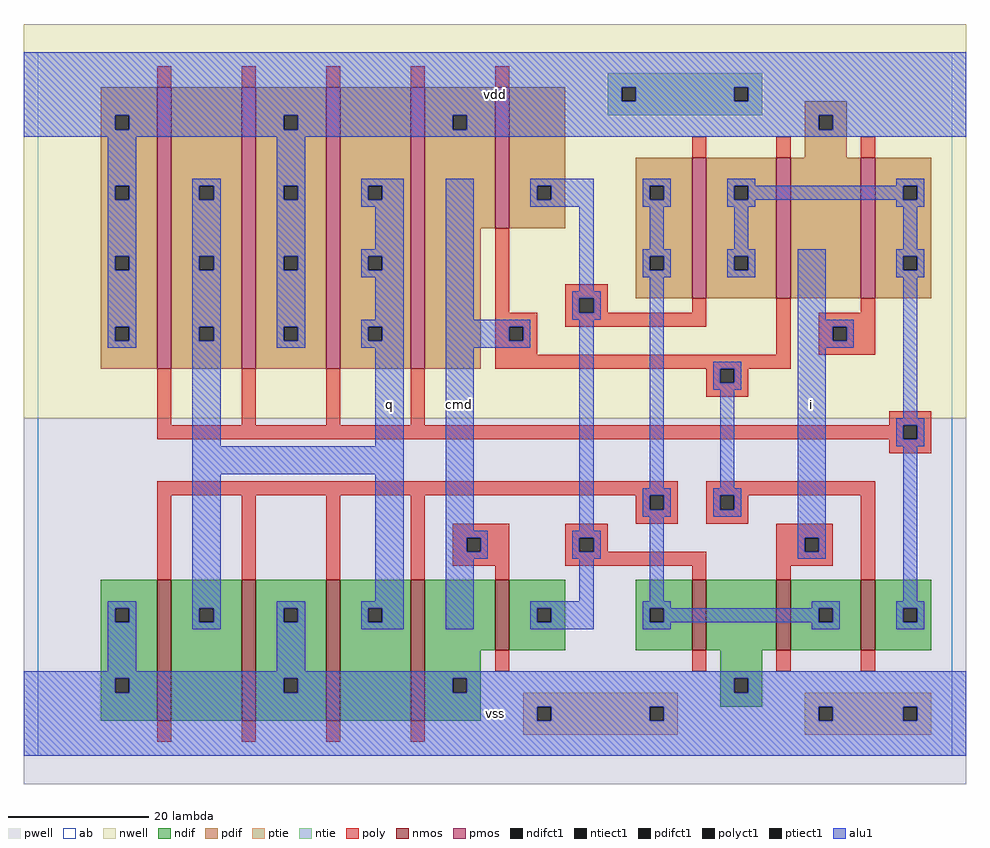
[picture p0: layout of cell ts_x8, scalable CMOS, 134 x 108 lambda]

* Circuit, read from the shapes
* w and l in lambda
.subckt ts_x8 cmd i q vdd vss
M1 q n1 vss vss nfet w=20 l=2 m=4
M2 n2 cmd vss vss nfet w=10 l=2
M3 vss n2 n1 vss nfet w=10 l=2
M4 n1 i vss vss nfet w=10 l=2
M5 n3 cmd n1 vss nfet w=10 l=2
M6 q n3 vdd vdd pfet w=40 l=2 m=4
M7 n2 cmd vdd vdd pfet w=20 l=2
M8 n3 n2 n1 vdd pfet w=20 l=2
M9 vdd cmd n3 vdd pfet w=20 l=2
M10 n3 i vdd vdd pfet w=20 l=2
.ends

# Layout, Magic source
magic
tech scmos
<< ab >>
rect 0 0 130 100
<< nwell >>
rect -2 48 132 104
<< pwell >>
rect -2 -4 132 48
<< poly >>
rect 17 95 19 98
rect 29 95 31 98
rect 41 95 43 98
rect 53 95 55 98
rect 65 95 67 98
rect 93 85 95 88
rect 105 85 107 88
rect 117 85 119 88
rect 65 63 67 75
rect 75 65 81 67
rect 75 63 77 65
rect 79 63 81 65
rect 93 63 95 65
rect 65 61 71 63
rect 75 61 95 63
rect 65 59 67 61
rect 69 59 71 61
rect 65 57 71 59
rect 105 57 107 65
rect 117 63 119 65
rect 111 61 119 63
rect 111 59 113 61
rect 115 59 119 61
rect 111 57 119 59
rect 65 55 107 57
rect 17 47 19 55
rect 29 47 31 55
rect 41 47 43 55
rect 53 47 55 55
rect 95 53 97 55
rect 99 53 101 55
rect 95 51 101 53
rect 121 47 127 49
rect 17 45 123 47
rect 125 45 127 47
rect 121 43 127 45
rect 17 37 91 39
rect 17 25 19 37
rect 29 25 31 37
rect 41 25 43 37
rect 53 25 55 37
rect 85 35 87 37
rect 89 35 91 37
rect 85 33 91 35
rect 95 37 119 39
rect 95 35 97 37
rect 99 35 101 37
rect 95 33 101 35
rect 59 31 67 33
rect 59 29 61 31
rect 63 29 67 31
rect 59 27 67 29
rect 75 31 81 33
rect 75 29 77 31
rect 79 29 81 31
rect 105 31 113 33
rect 105 29 109 31
rect 111 29 113 31
rect 75 27 95 29
rect 65 25 67 27
rect 93 25 95 27
rect 105 27 113 29
rect 105 25 107 27
rect 117 25 119 37
rect 65 12 67 15
rect 93 12 95 15
rect 105 12 107 15
rect 117 12 119 15
rect 17 2 19 5
rect 29 2 31 5
rect 41 2 43 5
rect 53 2 55 5
<< ndif >>
rect 9 21 17 25
rect 9 19 11 21
rect 13 19 17 21
rect 9 11 17 19
rect 9 9 11 11
rect 13 9 17 11
rect 9 5 17 9
rect 19 21 29 25
rect 19 19 23 21
rect 25 19 29 21
rect 19 5 29 19
rect 31 21 41 25
rect 31 19 35 21
rect 37 19 41 21
rect 31 11 41 19
rect 31 9 35 11
rect 37 9 41 11
rect 31 5 41 9
rect 43 21 53 25
rect 43 19 47 21
rect 49 19 53 21
rect 43 5 53 19
rect 55 15 65 25
rect 67 21 75 25
rect 67 19 71 21
rect 73 19 75 21
rect 67 15 75 19
rect 85 21 93 25
rect 85 19 87 21
rect 89 19 93 21
rect 85 15 93 19
rect 95 15 105 25
rect 107 21 117 25
rect 107 19 111 21
rect 113 19 117 21
rect 107 15 117 19
rect 119 21 127 25
rect 119 19 123 21
rect 125 19 127 21
rect 119 15 127 19
rect 55 11 63 15
rect 55 9 59 11
rect 61 9 63 11
rect 97 11 103 15
rect 97 9 99 11
rect 101 9 103 11
rect 55 5 63 9
rect 97 7 103 9
<< pdif >>
rect 9 91 17 95
rect 9 89 11 91
rect 13 89 17 91
rect 9 81 17 89
rect 9 79 11 81
rect 13 79 17 81
rect 9 71 17 79
rect 9 69 11 71
rect 13 69 17 71
rect 9 61 17 69
rect 9 59 11 61
rect 13 59 17 61
rect 9 55 17 59
rect 19 81 29 95
rect 19 79 23 81
rect 25 79 29 81
rect 19 71 29 79
rect 19 69 23 71
rect 25 69 29 71
rect 19 61 29 69
rect 19 59 23 61
rect 25 59 29 61
rect 19 55 29 59
rect 31 91 41 95
rect 31 89 35 91
rect 37 89 41 91
rect 31 81 41 89
rect 31 79 35 81
rect 37 79 41 81
rect 31 71 41 79
rect 31 69 35 71
rect 37 69 41 71
rect 31 61 41 69
rect 31 59 35 61
rect 37 59 41 61
rect 31 55 41 59
rect 43 81 53 95
rect 43 79 47 81
rect 49 79 53 81
rect 43 71 53 79
rect 43 69 47 71
rect 49 69 53 71
rect 43 61 53 69
rect 43 59 47 61
rect 49 59 53 61
rect 43 55 53 59
rect 55 91 65 95
rect 55 89 59 91
rect 61 89 65 91
rect 55 75 65 89
rect 67 81 75 95
rect 109 91 115 93
rect 109 89 111 91
rect 113 89 115 91
rect 109 85 115 89
rect 67 79 71 81
rect 73 79 75 81
rect 67 75 75 79
rect 85 81 93 85
rect 85 79 87 81
rect 89 79 93 81
rect 55 55 63 75
rect 85 71 93 79
rect 85 69 87 71
rect 89 69 93 71
rect 85 65 93 69
rect 95 81 105 85
rect 95 79 99 81
rect 101 79 105 81
rect 95 71 105 79
rect 95 69 99 71
rect 101 69 105 71
rect 95 65 105 69
rect 107 65 117 85
rect 119 81 127 85
rect 119 79 123 81
rect 125 79 127 81
rect 119 71 127 79
rect 119 69 123 71
rect 125 69 127 71
rect 119 65 127 69
<< alu1 >>
rect -2 95 132 100
rect -2 93 83 95
rect 85 93 99 95
rect 101 93 132 95
rect -2 91 132 93
rect -2 89 11 91
rect 13 89 35 91
rect 37 89 59 91
rect 61 89 111 91
rect 113 89 132 91
rect -2 88 132 89
rect 10 81 14 88
rect 10 79 11 81
rect 13 79 14 81
rect 10 71 14 79
rect 10 69 11 71
rect 13 69 14 71
rect 10 61 14 69
rect 10 59 11 61
rect 13 59 14 61
rect 10 58 14 59
rect 22 81 26 82
rect 22 79 23 81
rect 25 79 26 81
rect 22 71 26 79
rect 22 69 23 71
rect 25 69 26 71
rect 22 61 26 69
rect 22 59 23 61
rect 25 59 26 61
rect 22 44 26 59
rect 34 81 38 88
rect 34 79 35 81
rect 37 79 38 81
rect 34 71 38 79
rect 46 81 52 82
rect 46 79 47 81
rect 49 79 52 81
rect 46 78 52 79
rect 48 72 52 78
rect 34 69 35 71
rect 37 69 38 71
rect 34 61 38 69
rect 46 71 52 72
rect 46 69 47 71
rect 49 69 52 71
rect 46 68 52 69
rect 48 62 52 68
rect 34 59 35 61
rect 37 59 38 61
rect 34 58 38 59
rect 46 61 52 62
rect 46 59 47 61
rect 49 59 52 61
rect 46 58 52 59
rect 48 44 52 58
rect 22 40 52 44
rect 10 21 14 22
rect 10 19 11 21
rect 13 19 14 21
rect 10 12 14 19
rect 22 21 26 40
rect 48 22 52 40
rect 22 19 23 21
rect 25 19 26 21
rect 22 18 26 19
rect 34 21 38 22
rect 34 19 35 21
rect 37 19 38 21
rect 34 12 38 19
rect 46 21 52 22
rect 46 19 47 21
rect 49 19 52 21
rect 46 18 52 19
rect 58 62 62 82
rect 70 81 79 82
rect 70 79 71 81
rect 73 79 79 81
rect 70 78 79 79
rect 86 81 90 82
rect 86 79 87 81
rect 89 79 90 81
rect 86 78 90 79
rect 98 81 102 82
rect 122 81 126 82
rect 98 79 99 81
rect 101 79 123 81
rect 125 79 126 81
rect 98 78 102 79
rect 122 78 126 79
rect 77 66 79 78
rect 87 72 89 78
rect 99 72 101 78
rect 123 72 125 78
rect 86 71 90 72
rect 86 69 87 71
rect 89 69 90 71
rect 86 68 90 69
rect 98 71 102 72
rect 98 69 99 71
rect 101 69 102 71
rect 98 68 102 69
rect 76 65 80 66
rect 76 63 77 65
rect 79 63 80 65
rect 76 62 80 63
rect 58 61 70 62
rect 58 59 67 61
rect 69 59 70 61
rect 58 58 70 59
rect 58 32 62 58
rect 77 32 79 62
rect 87 38 89 68
rect 108 62 112 72
rect 122 71 126 72
rect 122 69 123 71
rect 125 69 126 71
rect 122 68 126 69
rect 108 61 116 62
rect 108 59 113 61
rect 115 59 116 61
rect 108 58 116 59
rect 96 55 100 56
rect 96 53 97 55
rect 99 53 100 55
rect 96 52 100 53
rect 97 38 99 52
rect 86 37 90 38
rect 86 35 87 37
rect 89 35 90 37
rect 86 34 90 35
rect 96 37 100 38
rect 96 35 97 37
rect 99 35 100 37
rect 96 34 100 35
rect 58 31 64 32
rect 58 29 61 31
rect 63 29 64 31
rect 58 28 64 29
rect 76 31 80 32
rect 76 29 77 31
rect 79 29 80 31
rect 76 28 80 29
rect 58 18 62 28
rect 77 22 79 28
rect 87 22 89 34
rect 108 31 112 58
rect 123 48 125 68
rect 122 47 126 48
rect 122 45 123 47
rect 125 45 126 47
rect 122 44 126 45
rect 108 29 109 31
rect 111 29 112 31
rect 108 28 112 29
rect 123 22 125 44
rect 70 21 79 22
rect 70 19 71 21
rect 73 19 79 21
rect 70 18 79 19
rect 86 21 90 22
rect 110 21 114 22
rect 86 19 87 21
rect 89 19 111 21
rect 113 19 114 21
rect 86 18 90 19
rect 110 18 114 19
rect 122 21 126 22
rect 122 19 123 21
rect 125 19 126 21
rect 122 18 126 19
rect -2 11 132 12
rect -2 9 11 11
rect 13 9 35 11
rect 37 9 59 11
rect 61 9 99 11
rect 101 9 132 11
rect -2 7 132 9
rect -2 5 71 7
rect 73 5 87 7
rect 89 5 111 7
rect 113 5 123 7
rect 125 5 132 7
rect -2 0 132 5
<< ptie >>
rect 69 7 91 9
rect 109 7 127 9
rect 69 5 71 7
rect 73 5 87 7
rect 89 5 91 7
rect 69 3 91 5
rect 109 5 111 7
rect 113 5 123 7
rect 125 5 127 7
rect 109 3 127 5
<< ntie >>
rect 81 95 103 97
rect 81 93 83 95
rect 85 93 99 95
rect 101 93 103 95
rect 81 91 103 93
<< nmos >>
rect 17 5 19 25
rect 29 5 31 25
rect 41 5 43 25
rect 53 5 55 25
rect 65 15 67 25
rect 93 15 95 25
rect 105 15 107 25
rect 117 15 119 25
<< pmos >>
rect 17 55 19 95
rect 29 55 31 95
rect 41 55 43 95
rect 53 55 55 95
rect 65 75 67 95
rect 93 65 95 85
rect 105 65 107 85
rect 117 65 119 85
<< polyct1 >>
rect 77 63 79 65
rect 67 59 69 61
rect 113 59 115 61
rect 97 53 99 55
rect 123 45 125 47
rect 87 35 89 37
rect 97 35 99 37
rect 61 29 63 31
rect 77 29 79 31
rect 109 29 111 31
<< ndifct1 >>
rect 11 19 13 21
rect 11 9 13 11
rect 23 19 25 21
rect 35 19 37 21
rect 35 9 37 11
rect 47 19 49 21
rect 71 19 73 21
rect 87 19 89 21
rect 111 19 113 21
rect 123 19 125 21
rect 59 9 61 11
rect 99 9 101 11
<< ntiect1 >>
rect 83 93 85 95
rect 99 93 101 95
<< ptiect1 >>
rect 71 5 73 7
rect 87 5 89 7
rect 111 5 113 7
rect 123 5 125 7
<< pdifct1 >>
rect 11 89 13 91
rect 11 79 13 81
rect 11 69 13 71
rect 11 59 13 61
rect 23 79 25 81
rect 23 69 25 71
rect 23 59 25 61
rect 35 89 37 91
rect 35 79 37 81
rect 35 69 37 71
rect 35 59 37 61
rect 47 79 49 81
rect 47 69 49 71
rect 47 59 49 61
rect 59 89 61 91
rect 111 89 113 91
rect 71 79 73 81
rect 87 79 89 81
rect 87 69 89 71
rect 99 79 101 81
rect 99 69 101 71
rect 123 79 125 81
rect 123 69 125 71
<< labels >>
rlabel alu1 65 6 65 6 6 vss
rlabel alu1 50 50 50 50 6 q
rlabel alu1 60 50 60 50 6 cmd
rlabel alu1 65 94 65 94 6 vdd
rlabel alu1 110 50 110 50 6 i
<< end >>
